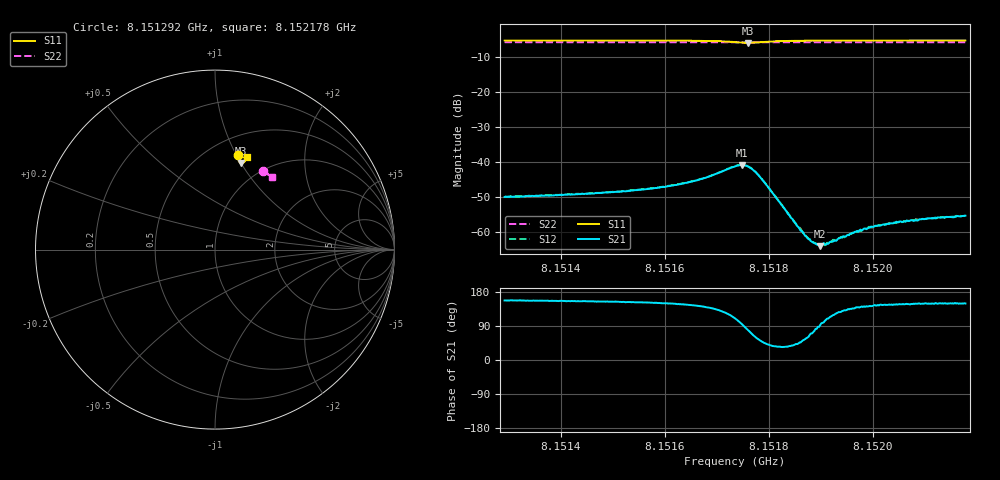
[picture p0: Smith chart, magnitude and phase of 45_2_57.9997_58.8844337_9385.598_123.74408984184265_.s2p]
#  HZ  S  RI  R  50.00
! Rohde & Schwarz Vector Network Analyzer
! Rohde-Schwarz,ZNB20-2Port,1311601062101988,3.16
! Created: UTC 3/21/2024, 12:52:15 AM
! freq[Hz]  re:S11  im:S11  re:S21  im:S21  re:S12  im:S12  re:S22  im:S22
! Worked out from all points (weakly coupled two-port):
!   401 points, 8.151292 GHz to 8.152178 GHz, reference 50 ohm
!   highest |S21| = -40.94 dB at 8.151749 GHz (marker M1); lowest = -64.2 dB at 8.151899 GHz (marker M2)
!   lowest |S11| = -6.0 dB at 8.15176 GHz (marker M3), VSWR 3.03, Z = 38.7 + j49.9 ohm
!   |S11| at or under -10 dB: nowhere
!   |S22| runs from -5.8 to -5.8 dB; largest |S21 - S12| = 0.00016
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8.1512925e9  0.1264 0.5287  -0.00288 0.00121  -0.00291 0.00128  0.2697 0.4376
8.1514408e9  0.138 0.5257  -0.00316 0.00145  -0.00312 0.00153  0.2777 0.4323
8.1515294e9  0.1456 0.5234  -0.00338 0.00173  -0.00338 0.00178  0.2826 0.4289
8.1515892e9  0.1516 0.5211  -0.00369 0.00209  -0.00371 0.00217  0.2859 0.4268
8.1516268e9  0.1561 0.5186  -0.00399 0.00251  -0.00401 0.00261  0.2879 0.4252
8.1516689e9  0.1618 0.5139  -0.00444 0.00346  -0.00441 0.00354  0.2899 0.4235
8.1517353e9  0.1639 0.4887  -0.00293 0.0081  -0.00285 0.00819  0.2931 0.4202
8.1517486e9  0.1549 0.4821  -0.000738 0.00894  -0.000591 0.00899  0.2935 0.4195
8.1517597e9  0.144 0.4821  0.00154 0.00845  0.0017 0.00849  0.2935 0.4194
8.1517707e9  0.1352 0.4879  0.00318 0.00682  0.00332 0.00689  0.2937 0.4193
8.151784e9  0.131 0.498  0.00375 0.00464  0.00383 0.00467  0.2944 0.4193
8.1518571e9  0.1463 0.5182  0.000843 0.000797  0.00084 0.000835  0.299 0.417
8.1518704e9  0.1488 0.5188  0.000496 0.000711  0.000515 0.000722  0.2997 0.4166
8.1518837e9  0.1509 0.5191  0.000239 0.00067  0.000233 0.000668  0.3006 0.416
8.1518992e9  0.1532 0.5192  -2.32e-05 0.000617  -4.17e-06 0.000642  0.3012 0.4153
8.1519102e9  0.1547 0.5192  -0.000183 0.00062  -0.000174 0.000641  0.3019 0.4149
8.1519368e9  0.1579 0.519  -0.000476 0.000649  -0.000463 0.000671  0.3035 0.4139
8.1519811e9  0.1625 0.5185  -0.00082 0.000686  -0.000812 0.000691  0.3056 0.412
8.1519966e9  0.1639 0.5182  -0.000926 0.000721  -0.000916 0.000704  0.3064 0.4115
8.152032e9  0.1672 0.5174  -0.00108 0.000713  -0.00111 0.00074  0.3085 0.41
8.1520852e9  0.1717 0.5163  -0.00122 0.000754  -0.00126 0.000791  0.3111 0.408
8.1521781e9  0.1788 0.5144  -0.00145 0.000866  -0.00145 0.000895  0.3157 0.4042
